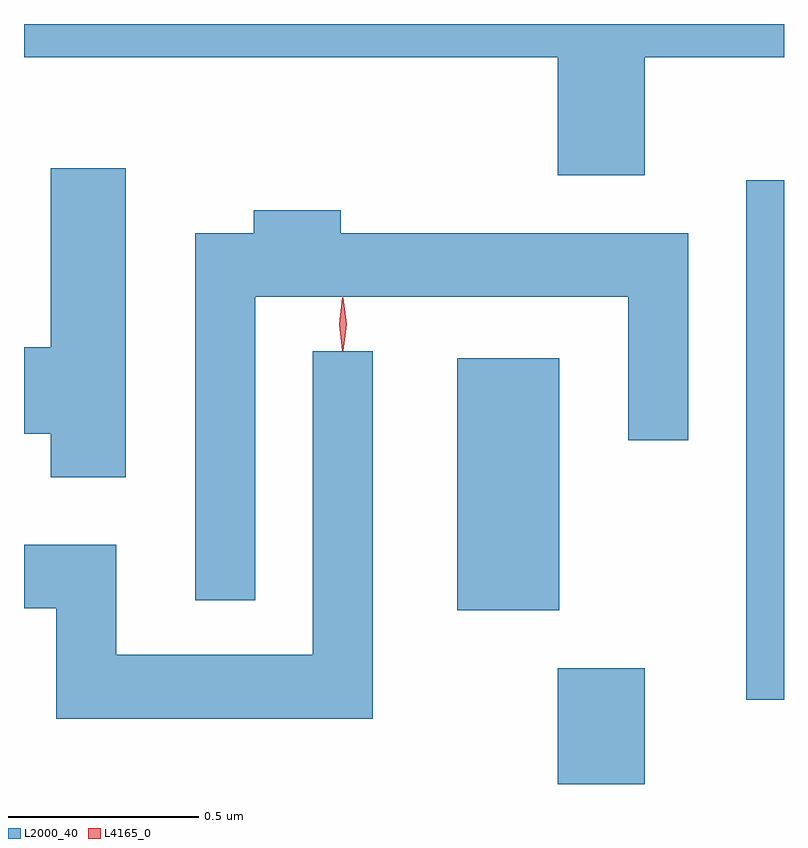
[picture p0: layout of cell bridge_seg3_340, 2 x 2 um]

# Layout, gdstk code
import gdstk
lib = gdstk.Library(unit=1e-6, precision=1e-09)
def R(c, l, rs):  # rectangles x0, y0, x1, y1
    for r in rs: c.add(gdstk.rectangle(r[:2], r[2:], *l))
def P(c, l, *ps):  # polygons
    for p in ps: c.add(gdstk.Polygon(p, *l))
L2000_40 = (2000, 40)
L4165_0 = (4165, 0)

bridge_seg3_340 = lib.new_cell('bridge_seg3_340')
R(bridge_seg3_340, L2000_40, [(530.761,1132.984,530.989,1133.289), (531.256,1133.206,531.356,1134.573), (530.496,1133.441,530.764,1134.104)])
P(bridge_seg3_340, L2000_40, [(530.989,1134.896),(531.356,1134.896),(531.356,1134.984),(529.356,1134.984),(529.356,1134.896),(530.761,1134.896),(530.761,1134.586),(530.989,1134.586)],
  [(529.624,1134.604),(529.426,1134.604),(529.426,1134.134),(529.356,1134.134),(529.356,1133.906),(529.426,1133.906),(529.426,1133.791),(529.624,1133.791)],
  [(529.964,1134.266),(530.946,1134.266),(530.946,1133.888),(531.104,1133.888),(531.104,1134.434),(530.189,1134.434),(530.189,1134.494),(529.961,1134.494),(529.961,1134.434),(529.806,1134.434),(529.806,1133.468),(529.964,1133.468)],
  [(530.274,1134.123),(530.116,1134.123),(530.116,1133.324),(529.599,1133.324),(529.599,1133.614),(529.356,1133.614),(529.356,1133.446),(529.441,1133.446),(529.441,1133.156),(530.274,1133.156)])
P(bridge_seg3_340, L4165_0, [(530.194,1134.124),(530.185,1134.194),(530.194,1134.263),(530.195,1134.263),(530.196,1134.263),(530.205,1134.194),(530.196,1134.124),(530.195,1134.124)],
  [(530.195,1134.127),(530.194,1134.128),(530.185,1134.194),(530.194,1134.26),(530.195,1134.261),(530.195,1134.26),(530.205,1134.194),(530.195,1134.128)])

lib.write_gds('bridge_seg3_340.gds')
